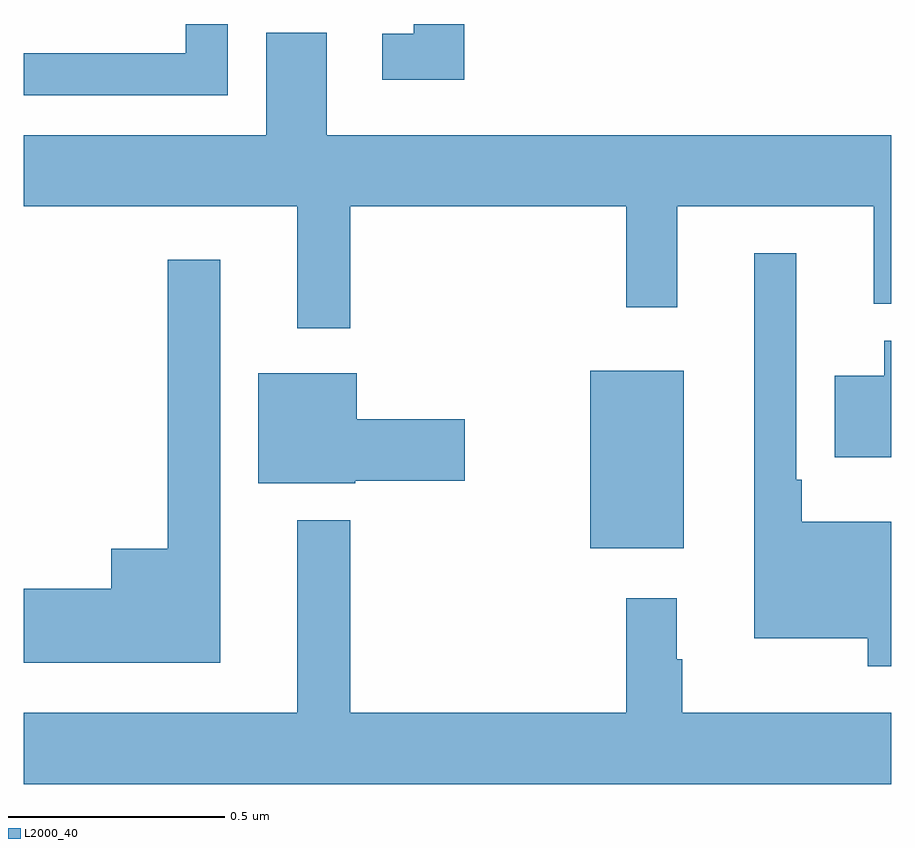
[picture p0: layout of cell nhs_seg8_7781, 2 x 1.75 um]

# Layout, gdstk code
import gdstk
lib = gdstk.Library(unit=1e-6, precision=1e-09)
def R(c, l, rs):  # rectangles x0, y0, x1, y1
    for r in rs: c.add(gdstk.rectangle(r[:2], r[2:], *l))
def P(c, l, *ps):  # polygons
    for p in ps: c.add(gdstk.Polygon(p, *l))
L2000_40 = (2000, 40)

nhs_seg8_7781 = lib.new_cell('nhs_seg8_7781')
R(nhs_seg8_7781, L2000_40, [(215.306,1135.691,215.521,1136.101)])
P(nhs_seg8_7781, L2000_40, [(214.47,1136.9),(214.373,1136.9),(214.373,1136.832),(214,1136.832),(214,1136.736),(214.47,1136.736)],
  [(215.015,1136.9),(214.899,1136.9),(214.899,1136.877),(214.827,1136.877),(214.827,1136.772),(215.015,1136.772)],
  [(214.753,1136.48),(215.389,1136.48),(215.389,1136.247),(215.507,1136.247),(215.507,1136.48),(215.96,1136.48),(215.96,1136.255),(216,1136.255),(216,1136.644),(214.699,1136.644),(214.699,1136.88),(214.559,1136.88),(214.559,1136.644),(214,1136.644),(214,1136.48),(214.631,1136.48),(214.631,1136.199),(214.753,1136.199)],
  [(216,1135.753),(215.794,1135.753),(215.794,1135.849),(215.781,1135.849),(215.781,1136.371),(215.684,1136.371),(215.684,1135.484),(215.946,1135.484),(215.946,1135.419),(216,1135.419)],
  [(214.453,1136.356),(214.332,1136.356),(214.332,1135.69),(214.202,1135.69),(214.202,1135.598),(214,1135.598),(214,1135.427),(214.453,1135.427)],
  [(216,1136.17),(215.984,1136.17),(215.984,1136.089),(215.87,1136.089),(215.87,1135.901),(216,1135.901)],
  [(214.764,1135.847),(215.017,1135.847),(215.017,1135.989),(214.768,1135.989),(214.768,1136.095),(214.541,1136.095),(214.541,1135.841),(214.764,1135.841)],
  [(216,1135.312),(215.518,1135.312),(215.518,1135.436),(215.506,1135.436),(215.506,1135.576),(215.389,1135.576),(215.389,1135.312),(214.753,1135.312),(214.753,1135.756),(214.631,1135.756),(214.631,1135.312),(214,1135.312),(214,1135.148),(216,1135.148)])

lib.write_gds('nhs_seg8_7781.gds')
